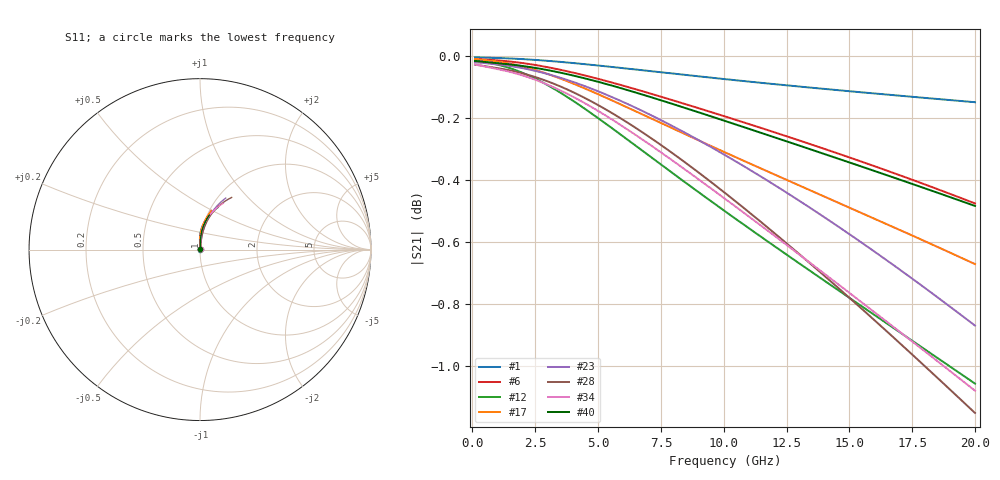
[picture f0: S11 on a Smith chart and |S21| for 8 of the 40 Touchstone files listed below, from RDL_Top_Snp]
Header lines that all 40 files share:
! Touchstone file exported from HFSS 2024.1.0
!  Design:  RDL_top
!  Setup:  Setup1
!  Solution:  Sweep
! Variables:
# GHz S MA R 50.000000
! Terminal data exported
! Port[1] = Box2_T1
! Port[2] = Box2_T2
Fixed: dtsv = 10.80580581um, hbump = 3um, ldown = 100um, p = 40, rhole = 1um, t = 450um, tdown = 3.915915916um, wdown = 15.38538539um
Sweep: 100 MHz to 20 GHz
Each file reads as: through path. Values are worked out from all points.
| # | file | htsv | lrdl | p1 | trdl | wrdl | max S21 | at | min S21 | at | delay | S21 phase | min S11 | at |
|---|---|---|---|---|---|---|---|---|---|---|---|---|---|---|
| 1 | dut4.s2p | 79.47um | 107.55um | 41.59um | 4.58um | 21.36um | 0.00 dB | 100 MHz | -0.1 dB | 20 GHz | 1.17 ps | -5 deg at 10.1 GHz | -62.9 dB | 100 MHz |
| 2 | dut6.s2p | 86.11um | 379.25um | 58.86um | 4.59um | 21.01um | -0.01 dB | 100 MHz | -0.9 dB | 20 GHz | 4.16 ps | -17 deg at 10.1 GHz | -53.0 dB | 100 MHz |
| 3 | dut7.s2p | 76.53um | 139.44um | 52.63um | 3.36um | 25.27um | -0.01 dB | 100 MHz | -0.3 dB | 20 GHz | 1.69 ps | -7 deg at 10.1 GHz | -59.6 dB | 100 MHz |
| 4 | dut8.s2p | 51.77um | 260.86um | 46.14um | 3.64um | 18.69um | -0.01 dB | 100 MHz | -0.5 dB | 20 GHz | 2.82 ps | -11 deg at 10.1 GHz | -54.3 dB | 100 MHz |
| 5 | dut9.s2p | 98.51um | 384.06um | 54.42um | 2.79um | 23.51um | -0.02 dB | 100 MHz | -0.9 dB | 20 GHz | 4.14 ps | -16 deg at 10.1 GHz | -51.1 dB | 100 MHz |
| 6 | dut10.s2p | 63.95um | 209.59um | 59.58um | 3.88um | 19.37um | -0.01 dB | 100 MHz | -0.5 dB | 20 GHz | 2.67 ps | -10 deg at 10.1 GHz | -55.6 dB | 100 MHz |
| 7 | dut11.s2p | 93.51um | 158.12um | 59.02um | 4.48um | 28.85um | -0.01 dB | 100 MHz | -0.3 dB | 20 GHz | 1.85 ps | -7 deg at 10.1 GHz | -61.0 dB | 100 MHz |
| 8 | dut12.s2p | 58.84um | 339.84um | 48.35um | 3.62um | 29.43um | -0.01 dB | 100 MHz | -0.6 dB | 20 GHz | 3.11 ps | -13 deg at 10.1 GHz | -56.0 dB | 100 MHz |
| 9 | dut14.s2p | 50.58um | 211.59um | 57.17um | 4.32um | 15.67um | -0.01 dB | 100 MHz | -0.5 dB | 20 GHz | 2.72 ps | -10 deg at 10.1 GHz | -55.0 dB | 100 MHz |
| 10 | dut15.s2p | 95.03um | 343.34um | 56.61um | 4.49um | 11.13um | -0.02 dB | 100 MHz | -1.0 dB | 20 GHz | 4.25 ps | -17 deg at 10.1 GHz | -49.6 dB | 100 MHz |
| 11 | dut16.s2p | 78.53um | 324.32um | 44.62um | 2.11um | 27.97um | -0.02 dB | 100 MHz | -0.6 dB | 20 GHz | 3.07 ps | -12 deg at 10.1 GHz | -51.9 dB | 100 MHz |
| 12 | dut17.s2p | 60.17um | 540.84um | 48.93um | 4.82um | 27.46um | -0.01 dB | 100 MHz | -1.1 dB | 20 GHz | 4.78 ps | -19 deg at 10.1 GHz | -53.8 dB | 100 MHz |
| 13 | dut18.s2p | 82.72um | 263.39um | 55.38um | 3.69um | 17.57um | -0.01 dB | 100 MHz | -0.6 dB | 20 GHz | 3.19 ps | -12 deg at 10.1 GHz | -53.4 dB | 100 MHz |
| 14 | dut19.s2p | 71.6um | 380.05um | 51.74um | 4.18um | 29.75um | -0.01 dB | 100 MHz | -0.7 dB | 20 GHz | 3.54 ps | -14 deg at 10.1 GHz | -56.0 dB | 100 MHz |
| 15 | dut22.s2p | 76.22um | 218.24um | 43.99um | 3.66um | 29.5um | -0.01 dB | 100 MHz | -0.3 dB | 20 GHz | 1.97 ps | -8 deg at 10.1 GHz | -59.3 dB | 100 MHz |
| 16 | dut23.s2p | 93.98um | 308.51um | 52.46um | 2.46um | 25.39um | -0.02 dB | 100 MHz | -0.7 dB | 20 GHz | 3.33 ps | -13 deg at 10.1 GHz | -52.4 dB | 100 MHz |
| 17 | dut25.s2p | 73.13um | 327.13um | 55.28um | 4.35um | 26.23um | -0.01 dB | 100 MHz | -0.7 dB | 20 GHz | 3.35 ps | -13 deg at 10.1 GHz | -55.8 dB | 100 MHz |
| 18 | dut27.s2p | 88.69um | 322.17um | 59.17um | 4.19um | 17.94um | -0.01 dB | 100 MHz | -0.8 dB | 20 GHz | 3.81 ps | -15 deg at 10.1 GHz | -52.5 dB | 100 MHz |
| 19 | dut28.s2p | 73.76um | 174.17um | 59.34um | 2.23um | 16.13um | -0.02 dB | 100 MHz | -0.5 dB | 20 GHz | 2.59 ps | -10 deg at 10.1 GHz | -52.4 dB | 100 MHz |
| 20 | dut31.s2p | 65.98um | 383.71um | 44.22um | 4.57um | 28.68um | -0.01 dB | 100 MHz | -0.6 dB | 20 GHz | 3.26 ps | -13 deg at 10.1 GHz | -56.8 dB | 100 MHz |
| 21 | dut34.s2p | 96.11um | 152.65um | 47.12um | 3.24um | 11.3um | -0.01 dB | 100 MHz | -0.3 dB | 20 GHz | 2.13 ps | -8 deg at 10.1 GHz | -54.1 dB | 100 MHz |
| 22 | dut35.s2p | 69.86um | 482.52um | 46.87um | 2.42um | 19.01um | -0.03 dB | 100 MHz | -1.2 dB | 20 GHz | 4.99 ps | -20 deg at 10.1 GHz | -47.1 dB | 100 MHz |
| 23 | dut36.s2p | 71.65um | 378.02um | 44.09um | 4.45um | 12.95um | -0.02 dB | 100 MHz | -0.9 dB | 20 GHz | 4.05 ps | -16 deg at 10.1 GHz | -50.3 dB | 100 MHz |
| 24 | dut38.s2p | 94.08um | 524.6um | 42.16um | 2.53um | 14.76um | -0.04 dB | 100 MHz | -1.4 dB | 20 GHz | 5.42 ps | -22 deg at 10.1 GHz | -45.0 dB | 100 MHz |
| 25 | dut39.s2p | 62.54um | 585.1um | 49um | 2.18um | 19.02um | -0.05 dB | 100 MHz | -1.6 dB | 20 GHz | 6 ps | -24 deg at 10.1 GHz | -44.8 dB | 100 MHz |
| 26 | dut41.s2p | 84.55um | 628.09um | 51.12um | 2.74um | 18.76um | -0.04 dB | 100 MHz | -1.8 dB | 20 GHz | 6.42 ps | -26 deg at 10.1 GHz | -45.6 dB | 100 MHz |
| 27 | dut42.s2p | 65.14um | 333.7um | 51.97um | 3.17um | 19.55um | -0.02 dB | 100 MHz | -0.8 dB | 20 GHz | 3.71 ps | -15 deg at 10.1 GHz | -51.7 dB | 100 MHz |
| 28 | dut44.s2p | 85.36um | 510.13um | 42.18um | 3.39um | 16.85um | -0.03 dB | 100 MHz | -1.2 dB | 20 GHz | 5.02 ps | -20 deg at 10.1 GHz | -48.2 dB | 100 MHz |
| 29 | dut46.s2p | 59.34um | 141.18um | 50.11um | 3.74um | 24.13um | -0.01 dB | 100 MHz | -0.2 dB | 20 GHz | 1.64 ps | -6 deg at 10.1 GHz | -60.1 dB | 100 MHz |
| 30 | dut47.s2p | 56.26um | 303.51um | 58.38um | 4.35um | 14.19um | -0.02 dB | 100 MHz | -0.8 dB | 20 GHz | 3.74 ps | -15 deg at 10.1 GHz | -51.7 dB | 100 MHz |
| 31 | dut48.s2p | 65.89um | 121.42um | 46.72um | 2.88um | 17.03um | -0.01 dB | 100 MHz | -0.2 dB | 20 GHz | 1.63 ps | -6 deg at 10.1 GHz | -57.4 dB | 100 MHz |
| 32 | dut49.s2p | 60.55um | 322.58um | 45.45um | 3.83um | 11.94um | -0.02 dB | 100 MHz | -0.8 dB | 20 GHz | 3.71 ps | -14 deg at 10.1 GHz | -50.0 dB | 100 MHz |
| 33 | dut50.s2p | 58.93um | 202.41um | 59.4um | 2.12um | 18.61um | -0.02 dB | 100 MHz | -0.5 dB | 20 GHz | 2.8 ps | -11 deg at 10.1 GHz | -51.9 dB | 100 MHz |
| 34 | dut53.s2p | 81.17um | 503.08um | 46.61um | 2.52um | 24.17um | -0.03 dB | 100 MHz | -1.1 dB | 20 GHz | 4.85 ps | -19 deg at 10.1 GHz | -48.9 dB | 100 MHz |
| 35 | dut55.s2p | 82.56um | 305.19um | 46.38um | 2.71um | 20.05um | -0.02 dB | 100 MHz | -0.6 dB | 20 GHz | 3.29 ps | -13 deg at 10.1 GHz | -51.7 dB | 100 MHz |
| 36 | dut56.s2p | 61.94um | 496.71um | 54.92um | 2.58um | 18.37um | -0.03 dB | 100 MHz | -1.5 dB | 20 GHz | 5.44 ps | -22 deg at 10.1 GHz | -46.8 dB | 100 MHz |
| 37 | dut57.s2p | 54.13um | 637.85um | 45.65um | 2.66um | 17.24um | -0.04 dB | 100 MHz | -1.7 dB | 20 GHz | 6.31 ps | -26 deg at 10.1 GHz | -44.9 dB | 100 MHz |
| 38 | dut58.s2p | 55.6um | 567.61um | 59.9um | 4.22um | 11.68um | -0.04 dB | 100 MHz | -2.1 dB | 20 GHz | 6.38 ps | -26 deg at 10.1 GHz | -45.5 dB | 100 MHz |
| 39 | dut59.s2p | 82.52um | 445.21um | 52.35um | 4.74um | 20.21um | -0.02 dB | 100 MHz | -1.0 dB | 20 GHz | 4.56 ps | -18 deg at 10.1 GHz | -52.1 dB | 100 MHz |
| 40 | dut62.s2p | 70.85um | 262.5um | 44.25um | 2.64um | 21.23um | -0.02 dB | 100 MHz | -0.5 dB | 20 GHz | 2.77 ps | -11 deg at 10.1 GHz | -53.1 dB | 100 MHz |
